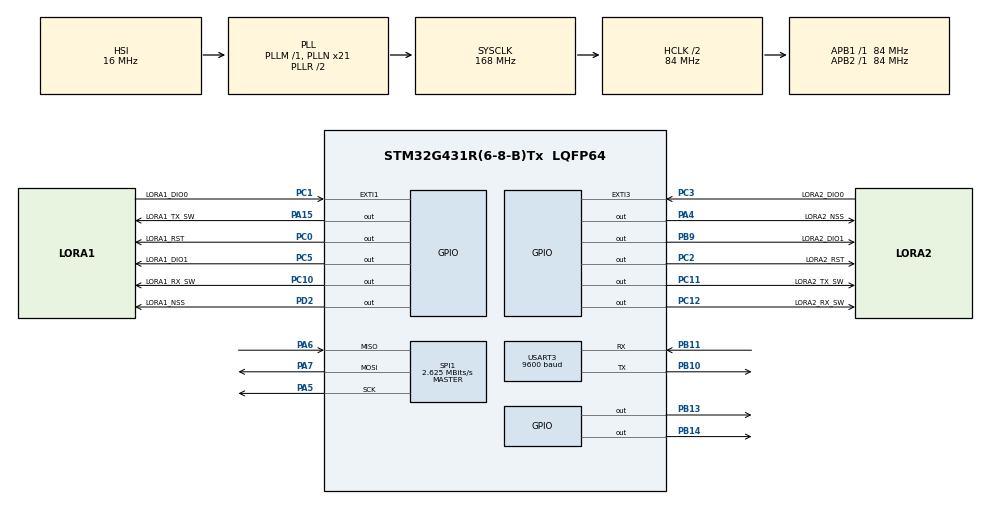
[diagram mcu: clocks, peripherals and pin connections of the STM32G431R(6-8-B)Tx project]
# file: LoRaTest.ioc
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Mcu.Family=STM32G4
Mcu.Name=STM32G431R(6-8-B)Tx
Mcu.Package=LQFP64
NVIC.EXTI1_IRQn=true\:0\:0\:false\:false\:true\:true\:true\:true
NVIC.EXTI3_IRQn=true\:0\:0\:false\:false\:true\:true\:true\:true
NVIC.PriorityGroup=NVIC_PRIORITYGROUP_4
NVIC.SPI1_IRQn=true\:0\:0\:false\:false\:true\:true\:true\:true
PA13.Mode=Serial_Wire
PA13.Signal=SYS_JTMS-SWDIO
PA14.Mode=Serial_Wire
PA14.Signal=SYS_JTCK-SWCLK
PA15.GPIO_Label=LORA1_TX_SW
PA15.Signal=GPIO_Output
PA4.GPIO_Label=LORA2_NSS
PA4.GPIO_Speed=GPIO_SPEED_FREQ_HIGH
PA4.PinState=GPIO_PIN_SET
PA4.Signal=GPIO_Output
PA5.Mode=Full_Duplex_Master
PA5.Signal=SPI1_SCK
PA6.Mode=Full_Duplex_Master
PA6.Signal=SPI1_MISO
PA7.Mode=Full_Duplex_Master
PA7.Signal=SPI1_MOSI
PB10.Mode=Asynchronous
PB10.Signal=USART3_TX
PB11.Mode=Asynchronous
PB11.Signal=USART3_RX
PB13.Signal=GPIO_Output
PB14.Signal=GPIO_Output
PB9.GPIO_Label=LORA2_DIO1
PB9.Signal=GPIO_Output
PC0.GPIO_Label=LORA1_RST
PC0.Signal=GPIO_Output
PC1.GPIO_Label=LORA1_DIO0
PC1.Signal=GPXTI1
PC10.GPIO_Label=LORA1_RX_SW
PC10.Signal=GPIO_Output
PC11.GPIO_Label=LORA2_TX_SW
PC11.Signal=GPIO_Output
PC12.GPIO_Label=LORA2_RX_SW
PC12.Signal=GPIO_Output
PC2.GPIO_Label=LORA2_RST
PC2.Signal=GPIO_Output
PC3.GPIO_Label=LORA2_DIO0
PC3.Signal=GPXTI3
PC5.GPIO_Label=LORA1_DIO1
PC5.Signal=GPIO_Output
PD2.GPIO_Label=LORA1_NSS
PD2.Signal=GPIO_Output
PF0-OSC_IN.Mode=HSE-External-Oscillator
PF0-OSC_IN.Signal=RCC_OSC_IN
PF1-OSC_OUT.Mode=HSE-External-Oscillator
PF1-OSC_OUT.Signal=RCC_OSC_OUT
ProjectManager.HeapSize=0x200
ProjectManager.StackSize=0x400
ProjectManager.TargetToolchain=STM32CubeIDE
RCC.ADC12Freq_Value=168000000
RCC.AHBCLKDivider=RCC_SYSCLK_DIV2
RCC.AHBFreq_Value=84000000
RCC.APB1Freq_Value=84000000
RCC.APB1TimFreq_Value=84000000
RCC.APB2Freq_Value=84000000
RCC.APB2TimFreq_Value=84000000
RCC.CortexFreq_Value=84000000
RCC.EXTERNAL_CLOCK_VALUE=12288000
RCC.HCLKFreq_Value=84000000
RCC.HSE_VALUE=8000000
RCC.HSI48_VALUE=48000000
RCC.HSI_VALUE=16000000
RCC.LSE_VALUE=32768
RCC.PLLN=21
RCC.SYSCLKFreq_VALUE=168000000
RCC.SYSCLKSource=RCC_SYSCLKSOURCE_PLLCLK
RCC.USBFreq_Value=168000000
RCC.VCOOutputFreq_Value=336000000
SPI1.BaudRatePrescaler=SPI_BAUDRATEPRESCALER_32
SPI1.CalculateBaudRate=2.625 MBits/s
SPI1.DataSize=SPI_DATASIZE_8BIT
SPI1.Direction=SPI_DIRECTION_2LINES
SPI1.Mode=SPI_MODE_MASTER
SPI1.NSSPMode=SPI_NSS_PULSE_DISABLE
SPI1.VirtualType=VM_MASTER
TIM2.PeriodNoDither=0xFFFFFFFF
TIM2.Prescaler=83
USART3.BaudRate=9600
USART3.VirtualMode-Asynchronous=VM_ASYNC
VP_CRC_VS_CRC.Mode=CRC_Activate
VP_SYS_VS_DBSignals.Mode=DisableDeadBatterySignals
VP_TIM2_VS_ClockSourceINT.Mode=Internal
board=custom

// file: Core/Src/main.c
/* USER CODE BEGIN Header */
/**
 ******************************************************************************
 * @file           : main.c
 * @brief          : Main program body
 ******************************************************************************
 */
/* USER CODE END Header */
#include "main.h"

/* USER CODE BEGIN Includes */
#include "sx1272.h"
#include <stdio.h>
#include "test.h"
/* USER CODE END Includes */

/* USER CODE BEGIN PTD */
SX1272_t lora_tx;
SX1272_t lora_rx;
/* USER CODE END PTD */

/* USER CODE BEGIN PD */
#define CHANNEL_1_FREQ  863000000
#define CHANNEL_2_FREQ  869000000

// Uncomment for Master board, comment for Slave board
#define MASTER_BOARD

#ifdef MASTER_BOARD
#define TX_FREQ      CHANNEL_1_FREQ
#define RX_FREQ      CHANNEL_2_FREQ
#else
#define TX_FREQ      CHANNEL_2_FREQ
#define RX_FREQ      CHANNEL_1_FREQ
#endif

//#define SELECTED_MODULATION SX1272_MOD_FSK
#define SELECTED_MODULATION SX1272_MOD_LORA
uint32_t lastRx = 0;
/* USER CODE END PD */

CRC_HandleTypeDef hcrc;

SPI_HandleTypeDef hspi1;

TIM_HandleTypeDef htim2;

UART_HandleTypeDef huart3;

void SystemClock_Config(void);
static void MX_GPIO_Init(void);
static void MX_CRC_Init(void);
static void MX_SPI1_Init(void);
static void MX_USART3_UART_Init(void);
static void MX_TIM2_Init(void);

/* USER CODE BEGIN 0 */
void HAL_GPIO_EXTI_Callback(uint16_t GPIO_Pin) {
	if (GPIO_Pin == lora_tx.DIO0_Pin) {
		SX1272_HandleDIO0(&lora_tx);
		HAL_GPIO_TogglePin(GPIOB, GPIO_PIN_14);
	} else if (GPIO_Pin == lora_rx.DIO0_Pin) {
		SX1272_HandleDIO0(&lora_rx);
		HAL_GPIO_TogglePin(GPIOB, GPIO_PIN_13);
	}
}
/* USER CODE END 0 */

int main(void)
{

  /* MCU Configuration--------------------------------------------------------*/

  /* Reset of all peripherals, Initializes the Flash interface and the Systick. */
  HAL_Init();

  /* Configure the system clock */
  SystemClock_Config();

  /* Initialize all configured peripherals */
  MX_GPIO_Init();
  MX_CRC_Init();
  MX_SPI1_Init();
  MX_USART3_UART_Init();
  MX_TIM2_Init();
  /* USER CODE BEGIN 2 */

	SX1272_Init(&lora_tx, &hspi1,
	LORA1_NSS_GPIO_Port, LORA1_NSS_Pin,
	LORA1_RST_GPIO_Port, LORA1_RST_Pin,
	LORA1_DIO0_GPIO_Port, LORA1_DIO0_Pin,
	SELECTED_MODULATION);

	SX1272_ConfigAntennaSwitch(&lora_tx,
	LORA1_TX_SW_GPIO_Port, LORA1_TX_SW_Pin,
	LORA1_RX_SW_GPIO_Port, LORA1_RX_SW_Pin);

	SX1272_Setup(&lora_tx, TX_FREQ, SX1272_BW_500, SX1272_CR_4_5, SX1272_SF_7);

	SX1272_Init(&lora_rx, &hspi1,
	LORA2_NSS_GPIO_Port, LORA2_NSS_Pin,
	LORA2_RST_GPIO_Port, LORA2_RST_Pin,
	LORA2_DIO0_GPIO_Port, LORA2_DIO0_Pin,
	SELECTED_MODULATION);

	SX1272_ConfigAntennaSwitch(&lora_rx,
	LORA2_TX_SW_GPIO_Port, LORA2_TX_SW_Pin,
	LORA2_RX_SW_GPIO_Port, LORA2_RX_SW_Pin);

	SX1272_Setup(&lora_rx, RX_FREQ, SX1272_BW_500, SX1272_CR_4_5, SX1272_SF_7);

	SX1272_Receive(&lora_rx);
	HAL_TIM_Base_Start(&htim2);

#ifdef MASTER_BOARD
	Test_Init(&huart3, &htim2, &lora_tx, &lora_rx, TEST_ROLE_MASTER);
	uint8_t custom_nslp_mock[] = { 0xDE, 0xAD, 0xBE, 0xEF, 0x01, 0x02 };
	Test_SetCustomPayload(custom_nslp_mock, sizeof(custom_nslp_mock));
#else
	Test_Init(&huart3, &htim2, &lora_tx, &lora_rx, TEST_ROLE_SLAVE);
#endif
	Test_Start();

  /* USER CODE END 2 */

  /* Infinite loop */
  /* USER CODE BEGIN WHILE */
	while (1) {
		Test_Process();

		if (lora_rx.packetReceived) {
			lora_rx.packetReceived = false;
			Test_HandleReceive();
			SX1272_Receive(&lora_rx);
		}
		if (HAL_GetTick() - lastRx > 50){
			HAL_GPIO_WritePin(GPIOB, GPIO_PIN_14, 0);
			HAL_GPIO_WritePin(GPIOB, GPIO_PIN_13, 0);
			lastRx = HAL_GetTick();
		}

    /* USER CODE END WHILE */

	}
}

void SystemClock_Config(void)
{
  RCC_OscInitTypeDef RCC_OscInitStruct = {0};
  RCC_ClkInitTypeDef RCC_ClkInitStruct = {0};

  /** Configure the main internal regulator output voltage
  */
  HAL_PWREx_ControlVoltageScaling(PWR_REGULATOR_VOLTAGE_SCALE1);

  /** Initializes the RCC Oscillators according to the specified parameters
  * in the RCC_OscInitTypeDef structure.
  */
  RCC_OscInitStruct.OscillatorType = RCC_OSCILLATORTYPE_HSI;
  RCC_OscInitStruct.HSIState = RCC_HSI_ON;
  RCC_OscInitStruct.HSICalibrationValue = RCC_HSICALIBRATION_DEFAULT;
  RCC_OscInitStruct.PLL.PLLState = RCC_PLL_ON;
  RCC_OscInitStruct.PLL.PLLSource = RCC_PLLSOURCE_HSI;
  RCC_OscInitStruct.PLL.PLLM = RCC_PLLM_DIV1;
  RCC_OscInitStruct.PLL.PLLN = 21;
  RCC_OscInitStruct.PLL.PLLP = RCC_PLLP_DIV2;
  RCC_OscInitStruct.PLL.PLLQ = RCC_PLLQ_DIV2;
  RCC_OscInitStruct.PLL.PLLR = RCC_PLLR_DIV2;
  if (HAL_RCC_OscConfig(&RCC_OscInitStruct) != HAL_OK)
  {
    Error_Handler();
  }

  /** Initializes the CPU, AHB and APB buses clocks
  */
  RCC_ClkInitStruct.ClockType = RCC_CLOCKTYPE_HCLK|RCC_CLOCKTYPE_SYSCLK
                              |RCC_CLOCKTYPE_PCLK1|RCC_CLOCKTYPE_PCLK2;
  RCC_ClkInitStruct.SYSCLKSource = RCC_SYSCLKSOURCE_PLLCLK;
  RCC_ClkInitStruct.AHBCLKDivider = RCC_SYSCLK_DIV2;
  RCC_ClkInitStruct.APB1CLKDivider = RCC_HCLK_DIV1;
  RCC_ClkInitStruct.APB2CLKDivider = RCC_HCLK_DIV1;

  if (HAL_RCC_ClockConfig(&RCC_ClkInitStruct, FLASH_LATENCY_2) != HAL_OK)
  {
    Error_Handler();
  }
}

static void MX_CRC_Init(void)
{

  hcrc.Instance = CRC;
  hcrc.Init.DefaultPolynomialUse = DEFAULT_POLYNOMIAL_ENABLE;
  hcrc.Init.DefaultInitValueUse = DEFAULT_INIT_VALUE_ENABLE;
  hcrc.Init.InputDataInversionMode = CRC_INPUTDATA_INVERSION_NONE;
  hcrc.Init.OutputDataInversionMode = CRC_OUTPUTDATA_INVERSION_DISABLE;
  hcrc.InputDataFormat = CRC_INPUTDATA_FORMAT_BYTES;
  if (HAL_CRC_Init(&hcrc) != HAL_OK)
  {
    Error_Handler();
  }

}

static void MX_SPI1_Init(void)
{

  /* SPI1 parameter configuration*/
  hspi1.Instance = SPI1;
  hspi1.Init.Mode = SPI_MODE_MASTER;
  hspi1.Init.Direction = SPI_DIRECTION_2LINES;
  hspi1.Init.DataSize = SPI_DATASIZE_8BIT;
  hspi1.Init.CLKPolarity = SPI_POLARITY_LOW;
  hspi1.Init.CLKPhase = SPI_PHASE_1EDGE;
  hspi1.Init.NSS = SPI_NSS_SOFT;
  hspi1.Init.BaudRatePrescaler = SPI_BAUDRATEPRESCALER_32;
  hspi1.Init.FirstBit = SPI_FIRSTBIT_MSB;
  hspi1.Init.TIMode = SPI_TIMODE_DISABLE;
  hspi1.Init.CRCCalculation = SPI_CRCCALCULATION_DISABLE;
  hspi1.Init.CRCPolynomial = 7;
  hspi1.Init.CRCLength = SPI_CRC_LENGTH_DATASIZE;
  hspi1.Init.NSSPMode = SPI_NSS_PULSE_DISABLE;
  if (HAL_SPI_Init(&hspi1) != HAL_OK)
  {
    Error_Handler();
  }

}

static void MX_TIM2_Init(void)
{

  TIM_ClockConfigTypeDef sClockSourceConfig = {0};
  TIM_MasterConfigTypeDef sMasterConfig = {0};

  htim2.Instance = TIM2;
  htim2.Init.Prescaler = 83;
  htim2.Init.CounterMode = TIM_COUNTERMODE_UP;
  htim2.Init.Period = 4294967295;
  htim2.Init.ClockDivision = TIM_CLOCKDIVISION_DIV1;
  htim2.Init.AutoReloadPreload = TIM_AUTORELOAD_PRELOAD_DISABLE;
  if (HAL_TIM_Base_Init(&htim2) != HAL_OK)
  {
    Error_Handler();
  }
  sClockSourceConfig.ClockSource = TIM_CLOCKSOURCE_INTERNAL;
  if (HAL_TIM_ConfigClockSource(&htim2, &sClockSourceConfig) != HAL_OK)
  {
    Error_Handler();
  }
  sMasterConfig.MasterOutputTrigger = TIM_TRGO_RESET;
  sMasterConfig.MasterSlaveMode = TIM_MASTERSLAVEMODE_DISABLE;
  if (HAL_TIMEx_MasterConfigSynchronization(&htim2, &sMasterConfig) != HAL_OK)
  {
    Error_Handler();
  }

}

static void MX_USART3_UART_Init(void)
{

  huart3.Instance = USART3;
  huart3.Init.BaudRate = 9600;
  huart3.Init.WordLength = UART_WORDLENGTH_8B;
  huart3.Init.StopBits = UART_STOPBITS_1;
  huart3.Init.Parity = UART_PARITY_NONE;
  huart3.Init.Mode = UART_MODE_TX_RX;
  huart3.Init.HwFlowCtl = UART_HWCONTROL_NONE;
  huart3.Init.OverSampling = UART_OVERSAMPLING_16;
  huart3.Init.OneBitSampling = UART_ONE_BIT_SAMPLE_DISABLE;
  huart3.Init.ClockPrescaler = UART_PRESCALER_DIV1;
  huart3.AdvancedInit.AdvFeatureInit = UART_ADVFEATURE_NO_INIT;
  if (HAL_UART_Init(&huart3) != HAL_OK)
  {
    Error_Handler();
  }
  if (HAL_UARTEx_SetTxFifoThreshold(&huart3, UART_TXFIFO_THRESHOLD_1_8) != HAL_OK)
  {
    Error_Handler();
  }
  if (HAL_UARTEx_SetRxFifoThreshold(&huart3, UART_RXFIFO_THRESHOLD_1_8) != HAL_OK)
  {
    Error_Handler();
  }
  if (HAL_UARTEx_DisableFifoMode(&huart3) != HAL_OK)
  {
    Error_Handler();
  }

}

static void MX_GPIO_Init(void)
{
  GPIO_InitTypeDef GPIO_InitStruct = {0};

  /* GPIO Ports Clock Enable */
  __HAL_RCC_GPIOF_CLK_ENABLE();
  __HAL_RCC_GPIOC_CLK_ENABLE();
  __HAL_RCC_GPIOA_CLK_ENABLE();
  __HAL_RCC_GPIOB_CLK_ENABLE();
  __HAL_RCC_GPIOD_CLK_ENABLE();

  /*Configure GPIO pin Output Level */
  HAL_GPIO_WritePin(GPIOC, LORA1_RST_Pin|LORA2_RST_Pin|LORA1_DIO1_Pin|LORA1_RX_SW_Pin
                          |LORA2_TX_SW_Pin|LORA2_RX_SW_Pin, GPIO_PIN_RESET);

  /*Configure GPIO pin Output Level */
  HAL_GPIO_WritePin(LORA2_NSS_GPIO_Port, LORA2_NSS_Pin, GPIO_PIN_SET);

  /*Configure GPIO pin Output Level */
  HAL_GPIO_WritePin(GPIOB, GPIO_PIN_13|GPIO_PIN_14|LORA2_DIO1_Pin, GPIO_PIN_RESET);

  /*Configure GPIO pin Output Level */
  HAL_GPIO_WritePin(LORA1_TX_SW_GPIO_Port, LORA1_TX_SW_Pin, GPIO_PIN_RESET);

  /*Configure GPIO pin Output Level */
  HAL_GPIO_WritePin(LORA1_NSS_GPIO_Port, LORA1_NSS_Pin, GPIO_PIN_SET);

  /*Configure GPIO pins : LORA1_RST_Pin LORA2_RST_Pin LORA1_DIO1_Pin LORA1_RX_SW_Pin
                           LORA2_TX_SW_Pin LORA2_RX_SW_Pin */
  GPIO_InitStruct.Pin = LORA1_RST_Pin|LORA2_RST_Pin|LORA1_DIO1_Pin|LORA1_RX_SW_Pin
                          |LORA2_TX_SW_Pin|LORA2_RX_SW_Pin;
  GPIO_InitStruct.Mode = GPIO_MODE_OUTPUT_PP;
  GPIO_InitStruct.Pull = GPIO_NOPULL;
  GPIO_InitStruct.Speed = GPIO_SPEED_FREQ_LOW;
  HAL_GPIO_Init(GPIOC, &GPIO_InitStruct);

  /*Configure GPIO pins : LORA1_DIO0_Pin LORA2_DIO0_Pin */
  GPIO_InitStruct.Pin = LORA1_DIO0_Pin|LORA2_DIO0_Pin;
  GPIO_InitStruct.Mode = GPIO_MODE_IT_RISING;
  GPIO_InitStruct.Pull = GPIO_NOPULL;
  HAL_GPIO_Init(GPIOC, &GPIO_InitStruct);

  /*Configure GPIO pin : LORA2_NSS_Pin */
  GPIO_InitStruct.Pin = LORA2_NSS_Pin;
  GPIO_InitStruct.Mode = GPIO_MODE_OUTPUT_PP;
  GPIO_InitStruct.Pull = GPIO_NOPULL;
  GPIO_InitStruct.Speed = GPIO_SPEED_FREQ_HIGH;
  HAL_GPIO_Init(LORA2_NSS_GPIO_Port, &GPIO_InitStruct);

  /*Configure GPIO pins : PB13 PB14 LORA2_DIO1_Pin */
  GPIO_InitStruct.Pin = GPIO_PIN_13|GPIO_PIN_14|LORA2_DIO1_Pin;
  GPIO_InitStruct.Mode = GPIO_MODE_OUTPUT_PP;
  GPIO_InitStruct.Pull = GPIO_NOPULL;
  GPIO_InitStruct.Speed = GPIO_SPEED_FREQ_LOW;
  HAL_GPIO_Init(GPIOB, &GPIO_InitStruct);

  /*Configure GPIO pin : LORA1_TX_SW_Pin */
  GPIO_InitStruct.Pin = LORA1_TX_SW_Pin;
  GPIO_InitStruct.Mode = GPIO_MODE_OUTPUT_PP;
  GPIO_InitStruct.Pull = GPIO_NOPULL;
  GPIO_InitStruct.Speed = GPIO_SPEED_FREQ_LOW;
  HAL_GPIO_Init(LORA1_TX_SW_GPIO_Port, &GPIO_InitStruct);

  /*Configure GPIO pin : LORA1_NSS_Pin */
  GPIO_InitStruct.Pin = LORA1_NSS_Pin;
  GPIO_InitStruct.Mode = GPIO_MODE_OUTPUT_PP;
  GPIO_InitStruct.Pull = GPIO_NOPULL;
  GPIO_InitStruct.Speed = GPIO_SPEED_FREQ_LOW;
  HAL_GPIO_Init(LORA1_NSS_GPIO_Port, &GPIO_InitStruct);

  /* EXTI interrupt init*/
  HAL_NVIC_SetPriority(EXTI1_IRQn, 0, 0);
  HAL_NVIC_EnableIRQ(EXTI1_IRQn);

  HAL_NVIC_SetPriority(EXTI3_IRQn, 0, 0);
  HAL_NVIC_EnableIRQ(EXTI3_IRQn);

}

void Error_Handler(void)
{
	__disable_irq();
	while (1) {
	}
}
